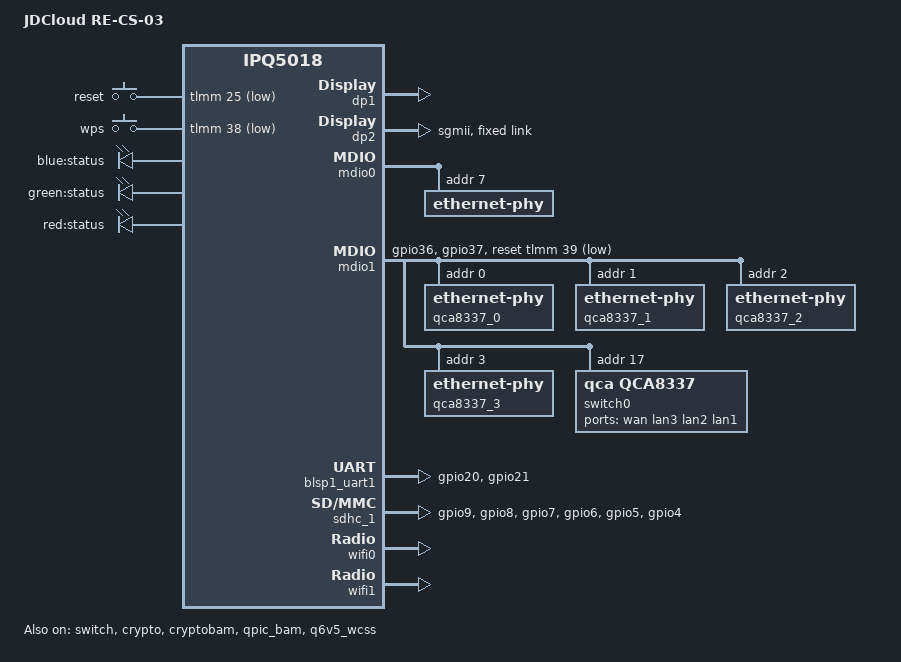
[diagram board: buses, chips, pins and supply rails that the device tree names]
/dts-v1/;

#include "ipq5018.dtsi"
#include "ipq5018-ess.dtsi"
#include "ipq5018-nss.dtsi"
#include "ipq5018-512m.dtsi"
#include <dt-bindings/gpio/gpio.h>
#include <dt-bindings/input/input.h>
#include <dt-bindings/leds/common.h>

/ {
	model = "JDCloud RE-CS-03";
	compatible = "jdcloud,re-cs-03", "qcom,ipq5018";

	interrupt-parent = <&intc>;

	aliases {
		sdhc1 = &sdhc_1;
		ethernet1 = &dp2;
		label-mac-device = &dp2;
		led-boot = &led_status_blue;
		led-failsafe = &led_status_red;
		led-running = &led_status_green;
		led-upgrade = &led_status_red;
		serial0 = &blsp1_uart1;
	};
	chosen {
		stdout-path = "serial0:115200n8";
	};

	keys {
		compatible = "gpio-keys";

		button_reset {
			label = "reset";
			gpios = <&tlmm 25 GPIO_ACTIVE_LOW>;
			linux,input-type = <EV_KEY>;
			linux,code = <KEY_RESTART>;
			debounce-interval = <60>;
		};

		wps {
			label = "wps";
			linux,code = <KEY_WPS_BUTTON>;
			gpios = <&tlmm 38 GPIO_ACTIVE_LOW>;
			linux,input-type = <EV_KEY>;
			debounce-interval = <60>;
		};
	};

	leds {
		compatible = "gpio-leds";

		led_status_blue: status-blue {
			label = "blue:status";
			gpio = <&tlmm 31 GPIO_ACTIVE_HIGH>;
		};

		led_status_green: status-green {
			label = "green:status";
			gpio = <&tlmm 32 GPIO_ACTIVE_HIGH>;
		};

		led_status_red: status-red {
			label = "red:status";
			gpio = <&tlmm 33 GPIO_ACTIVE_HIGH>;
		};
	};

	reserved-memory {
		q6_mem_regions: q6_mem_regions@4b000000 {
			no-map;
			reg = <0x0 0x4b000000 0x0 0x3000000>;
		};
	};
};

&switch {
	status = "okay";

	switch_mac_mode = <MAC_MODE_SGMII_CHANNEL0>;

	qcom,port_phyinfo {
		// MAC0 -> GE Phy -> QCA8337 Phy2
		port@0 {
			port_id = <1>;
			mdiobus = <&mdio0>;
			phy_address = <7>;
		};

		// MAC1 ---SGMII---> QCA8337 SerDes
		port@1 {
			port_id = <2>;
			forced-speed = <1000>;
			forced-duplex = <1>;
		};
	};
};

&dp1 {
	status = "okay";
};

// MAC1 ---SGMII---> QCA8337 SerDes
&dp2 {
	status = "okay";
	phy-mode = "sgmii";

	fixed-link {
		speed = <1000>;
		full-duplex;
	};
};

&mdio0 {
	status = "okay";

	ethernet-phy@0 {
	reg = <7>;
	};
};

&mdio1 {
	status = "okay";
	pinctrl-0 = <&mdio1_pins>;
	pinctrl-names = "default";
	reset-gpios = <&tlmm 39 GPIO_ACTIVE_LOW>;

	// QCA8337 Phy0 -> LAN3
	qca8337_0: ethernet-phy@0 {
		reg = <0>;
	};
	// QCA8337 Phy1 -> LAN2
	qca8337_1: ethernet-phy@1 {
		reg = <1>;
	};
	// QCA8337 Phy3 -> LAN1
	qca8337_2: ethernet-phy@2 {
		reg = <2>;
	};
	// QCA8337 Phy2 -> IPQ5018 GE Phy
	qca8337_3: ethernet-phy@3 {
		reg = <3>;
	};

	switch0: ethernet-switch@17 {
		compatible = "qca,qca8337";
		reg = <17>;
		#address-cells = <1>;
		#size-cells = <0>;
		switch_cpu_bmp = <0x40>;  /* cpu port bitmap */
		switch_lan_bmp = <0x1e>; /* lan port bitmap */
		switch_wan_bmp = <0x0>;  /* wan port bitmap */
		ports {
			#address-cells = <1>;
			#size-cells = <0>;
			
			// QCA8337 Phy1 -> LAN3
			port@0 {
				reg = <0>;
				label = "wan";
				phy-handle = <&qca8337_0>;
				port_id = <1>;
				phy_address = <0>;
			};

			// QCA8337 Phy2 -> LAN2
			port@1 {
				reg = <1>;
				label = "lan3";
				phy-handle = <&qca8337_1>;
				port_id = <2>;
				phy_address = <1>;
			};
			// QCA8337 Phy3 -> LAN1
			port@2 {
				reg = <2>;
				label = "lan2";
				phy-handle = <&qca8337_2>;
				port_id = <3>;
				phy_address = <2>;

			};
			// QCA8337 Phy4 -> WAN
			port@3 {
				reg = <3>;
				label = "lan1";
				phy-handle = <&qca8337_3>;
				port_id = <4>;
				phy_address = <3>;

			};
		};
	};
};
&sleep_clk {
	clock-frequency = <32000>;
};
&xo_board_clk {
	clock-frequency = <24000000>;
};
&blsp1_uart1 {
	status = "okay";
	pinctrl-0 = <&blsp_uart0_pins>;
	pinctrl-names = "default";
};
&crypto {
	status = "okay";
};
&cryptobam {
	status = "okay";
};
&qpic_bam {
	status = "okay";
};

&sdhc_1 {
	status = "okay";

	pinctrl-0 = <&emmc_pins>;
	pinctrl-names = "default";

	/delete-property/ mmc-hs400-1_8v;
	mmc-hs200-1_8v;
	mmc-ddr-1_8v;
};

&tlmm {

	mdio1_pins: mdio1-pins {
		mdio1_mdc {
			pins = "gpio36";
			function = "mdc";
			drive-strength = <8>;
			bias-pull-up;
		};

		mdio1_mdio {
			pins = "gpio37";
			function = "mdio";
			drive-strength = <8>;
			bias-pull-up;
		};
	};

	blsp_uart0_pins: blsp_uart0_pins {
		pins =
			"gpio20", // RX
			"gpio21"; // TX
		function = "blsp0_uart0";
		drive-strength = <8>;
		bias-disable;
	};

		emmc_pins: emmc-pins {
		emmc_clk {
			pins = "gpio9";
			function = "sdc1_clk";
			drive-strength = <8>;
			bias-disable;
		};

		emmc_cmd {
			pins = "gpio8";
			function = "sdc1_cmd";
			drive-strength = <8>;
			bias-pull-up;
		};

		emmc_data_0 {
			pins = "gpio7";
			function = "sdc10";
			drive-strength = <0x08>;
			bias-disable;
		};

		emmc_data_1 {
			pins = "gpio6";
			function = "sdc11";
			drive-strength = <0x08>;
			bias-disable;
		};

		emmc_data_2 {
			pins = "gpio5";
			function = "sdc12";
			drive-strength = <0x08>;
			bias-disable;
		};

		emmc_data_3 {
			pins = "gpio4";
			function = "sdc13";
			drive-strength = <0x08>;
			bias-disable;
		};
	};
};

&tsens {
	status = "disabled";
};

&q6v5_wcss {
	status = "okay";

	memory-region = <&q6_mem_regions>;
	firmware-name = "ath11k/IPQ5018/hw1.0/q6_fw.mdt",
			"ath11k/IPQ5018/hw1.0/m3_fw.mdt",
			"ath11k/QCN6122/hw1.0/m3_fw.mdt";

	/* B3000 currently doesn't support passing bootargs */
	/*boot-args = <					*/
			/*	   type:	0x1  PCIE0	*/
			/*	 length:	4		*/
			/*	  PD id:	3		*/
			/* reset GPIO:	15		*/
			/*   reserved:	0 0>;		*/

	// IPQ5018
	q6_wcss_pd1: pd-1 {
		firmware-name = "ath11k/IPQ5018/hw1.0/q6_fw.mdt";

		resets =
			<&gcc GCC_WCSSAON_RESET>,
			<&gcc GCC_WCSS_BCR>,
			<&gcc GCC_CE_BCR>;
		reset-names =
			"wcss_aon_reset",
			"wcss_reset",
			"ce_reset";

		clocks =
			<&gcc GCC_WCSS_AHB_S_CLK>,
			<&gcc GCC_WCSS_ACMT_CLK>,
			<&gcc GCC_WCSS_AXI_M_CLK>;
		clock-names =
			"gcc_wcss_ahb_s_clk",
			"gcc_wcss_acmt_clk",
			"gcc_wcss_axi_m_clk";

		// qcom,halt-regs = <&tcsr_q6_block 0xa000 0xd000 0x0>;
		interrupts-extended =
			<&wcss_smp2p_in 8 IRQ_TYPE_NONE>,
			<&wcss_smp2p_in 9 IRQ_TYPE_NONE>,
			<&wcss_smp2p_in 12 IRQ_TYPE_NONE>,
			<&wcss_smp2p_in 11 IRQ_TYPE_NONE>;
		interrupt-names =
			"fatal",
			"ready",
			"spawn-ack",
			"stop-ack";

		qcom,smem-states =
			<&wcss_smp2p_out 8>,
			<&wcss_smp2p_out 9>,
			<&wcss_smp2p_out 10>;
		qcom,smem-state-names =
			"shutdown",
			"stop",
			"spawn";
	};

	// QCN6102 5G
	q6_wcss_pd3: pd-3 {
		firmware-name = "ath11k/IPQ5018/hw1.0/q6_fw.mdt";

		interrupts-extended =
			<&wcss_smp2p_in 24 IRQ_TYPE_NONE>,
			<&wcss_smp2p_in 25 IRQ_TYPE_NONE>,
			<&wcss_smp2p_in 28 IRQ_TYPE_NONE>,
			<&wcss_smp2p_in 27 IRQ_TYPE_NONE>;
		interrupt-names =
			"fatal",
			"ready",
			"spawn-ack",
			"stop-ack";

		qcom,smem-states =
			<&wcss_smp2p_out 24>,
			<&wcss_smp2p_out 25>,
			<&wcss_smp2p_out 26>;
		qcom,smem-state-names =
			"shutdown",
			"stop",
			"spawn";
	};
};

&wifi0 {
	// IPQ5018
	qcom,rproc = <&q6_wcss_pd1>;
	qcom,userpd-subsys-name = "q6v5_wcss_userpd1";
	qcom,ath11k-calibration-variant = "JDCloud-RE-CS-03";
	qcom,ath11k-fw-memory-mode = <2>;
	qcom,bdf-addr = <0x4c400000>;

	status = "okay";
};

&wifi1 {
	// QCN6102 5G
	qcom,rproc = <&q6_wcss_pd3>;
	qcom,userpd-subsys-name = "q6v5_wcss_userpd3";
	qcom,ath11k-calibration-variant = "JDCloud-RE-CS-03";
	qcom,ath11k-fw-memory-mode = <2>;
	qcom,bdf-addr = <0x4d100000>;
	qcom,m3-dump-addr = <0x4df00000>;

	status = "okay";
};
